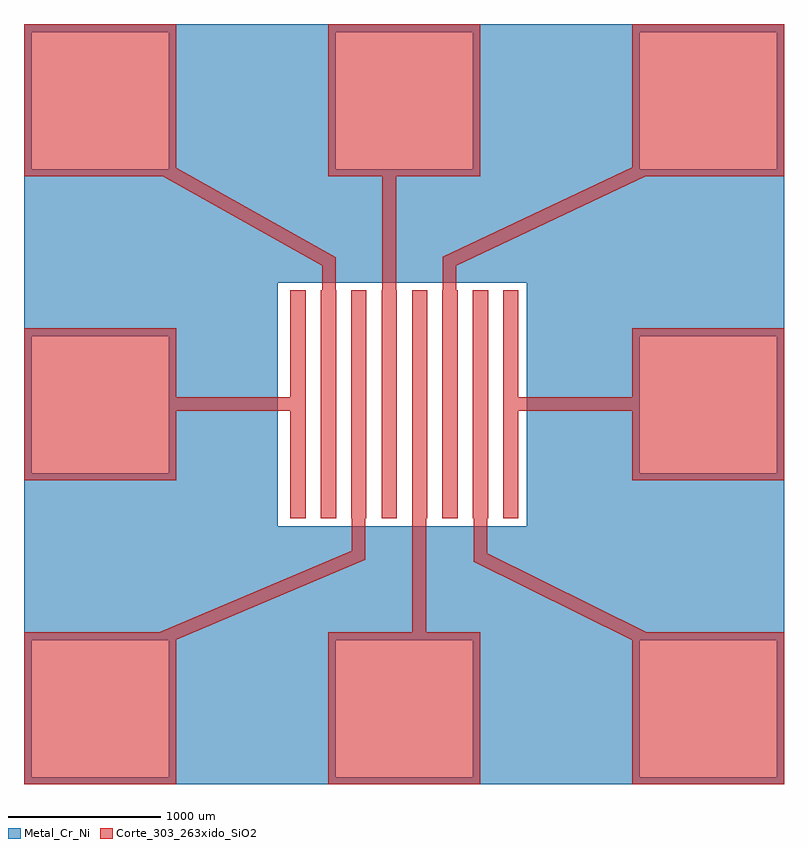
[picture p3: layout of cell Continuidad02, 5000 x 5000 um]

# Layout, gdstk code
import gdstk
lib = gdstk.Library(unit=1e-6, precision=1e-06)
def P(c, l, *ps):  # polygons
    for p in ps: c.add(gdstk.Polygon(p, *l))
Corte_303_263xido_SiO2 = (1, 0)
Metal_Cr_Ni = (2, 0)

continuidad02 = lib.new_cell('Continuidad02')
P(continuidad02, Corte_303_263xido_SiO2, [(462018,-336),(462018,664),(462907,664),(464174,1199),(464174,1414),(464171,1414),(464171,2914),(464271,2914),(464271,1414),(464264,1414),(464264,1139),(463018,613),(463018,-336)],
  [(463771,1414),(463771,2119),(463018,2119),(463018,1664),(462018,1664),(462018,2664),(463018,2664),(463018,2209),(463771,2209),(463771,2914),(463871,2914),(463871,1414)],
  [(464371,1414),(464371,2914),(464376,2914),(464376,3664),(464018,3664),(464018,4664),(465018,4664),(465018,3664),(464466,3664),(464466,2914),(464471,2914),(464471,1414)],
  [(463971,1414),(463971,2914),(463979,2914),(463979,3075),(462932,3664),(462018,3664),(462018,4664),(463018,4664),(463018,3718),(464069,3128),(464069,2914),(464071,2914),(464071,1414)],
  [(464018,-336),(464018,664),(464573,664),(464573,1414),(464571,1414),(464571,2914),(464671,2914),(464671,1414),(464663,1414),(464663,664),(465018,664),(465018,-336)],
  [(464771,1414),(464771,2914),(464773,2914),(464773,3132),(466018,3721),(466018,4664),(467018,4664),(467018,3664),(466107,3664),(464863,3075),(464863,2914),(464871,2914),(464871,1414)],
  [(465171,1414),(465171,2914),(465271,2914),(465271,2209),(466018,2209),(466018,2664),(467018,2664),(467018,1664),(466018,1664),(466018,2119),(465271,2119),(465271,1414)],
  [(466018,-336),(466018,611),(464976,1125),(464976,1414),(464971,1414),(464971,2914),(465071,2914),(465071,1414),(465066,1414),(465066,1181),(466115,664),(467018,664),(467018,-336)])
P(continuidad02, Metal_Cr_Ni, [(462018,-336),(462018,610),(462069,610),(462069,-290),(462969,-290),(462969,610),(464069,610),(464069,-290),(464969,-290),(464969,610),(466069,610),(466069,-290),(466969,-290),(466969,610),(462018,610),(462018,2610),(462069,2610),(462069,1710),(462969,1710),(462969,2610),(462018,2610),(462018,2961),(463687,2961),(463687,1359),(465325,1359),(465325,2610),(466069,2610),(466069,1710),(466969,1710),(466969,2610),(465325,2610),(465325,2961),(462018,2961),(462018,4610),(462069,4610),(462069,3710),(462969,3710),(462969,4610),(464069,4610),(464069,3710),(464969,3710),(464969,4610),(466069,4610),(466069,3710),(466969,3710),(466969,4610),(462018,4610),(462018,4664),(467018,4664),(467018,-336)])

lib.write_gds('Continuidad02.gds')
